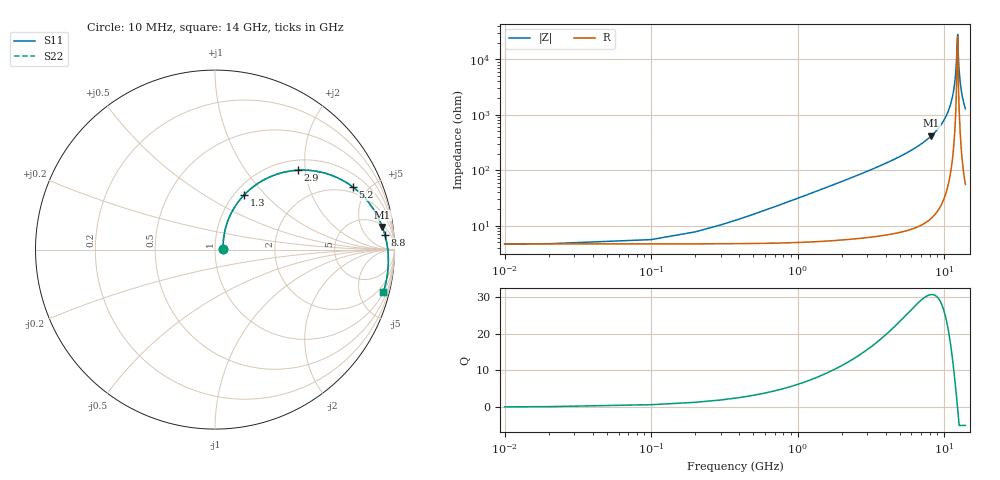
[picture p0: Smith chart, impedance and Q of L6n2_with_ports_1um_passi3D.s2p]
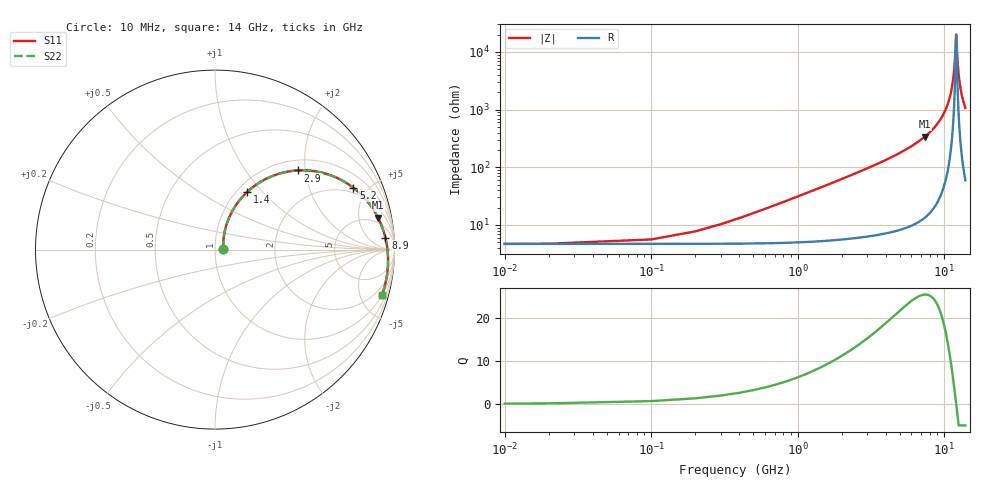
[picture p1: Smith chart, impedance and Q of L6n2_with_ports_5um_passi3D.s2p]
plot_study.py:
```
"""Regenerate the L6n2 study's differential L/Q/R plots.

Same calculation, axis limits, colors and line styles as plot_inductor
(D:/github/plot_inductor/plot_inductor.py), but with explicit legend labels
instead of truncated file names, and saving to PNG instead of plt.show().

usage: python plot_study.py [study_dir] [out_dir]
defaults: the study folder this script sits in (results/..), and results/plots
"""
import math
import os
import sys

import matplotlib
matplotlib.use("Agg")
from matplotlib import pyplot as plt
import skrf as rf

here = os.path.dirname(os.path.abspath(__file__))
study_dir = sys.argv[1] if len(sys.argv) > 1 else os.path.dirname(here)
out_dir = sys.argv[2] if len(sys.argv) > 2 else os.path.join(here, "plots")
res = os.path.join(study_dir, "results")

MEAS = (os.path.join(study_dir, "meas_L5_6n2_THRU_deemb.S2P"), "Measured (de-embedded)")
CONF_2UM = (os.path.join(res, "L6n2_with_ports_2um_passi3D.s2p"), "Sim: conformal passivation, 2 µm mesh")
CONF_1UM = (os.path.join(res, "L6n2_with_ports_1um_passi3D.s2p"), "Sim: conformal passivation, 1 µm mesh")
CONF_5UM = (os.path.join(res, "L6n2_with_ports_5um_passi3D.s2p"), "Sim: conformal passivation, 5 µm mesh")
PASSICUT = (os.path.join(res, "L6n2_with_ports_2um_passicut.s2p"), "Sim: passivation cut (valleys only), 2 µm mesh")

SURF_MERGE = (os.path.join(res, "L6n2_with_ports_surfacemesh_2um_viamerge.s2p"),
              "Sim: surface model, via merge, no correction")
SURF_NOMERGE = (os.path.join(res, "L6n2_with_ports_surfacemesh_2um_noviamerge.s2p"),
                "Sim: surface model, no via merge (individual vias)")
SURF_CORR = (os.path.join(res, "L6n2_with_ports_surfacemesh_2um_mergecorrection.s2p"),
             "Sim: surface model, via merge + fill factor correction")
PLANAR_FILLED = (os.path.join(res, "L6n2_with_ports_2um_mergecorrection_filled.s2p"),
                 "Sim: volume model (filled metals), via merge + correction")

PLOTS = {
    "via_array_merging.png": [MEAS, SURF_MERGE, SURF_NOMERGE, SURF_CORR],
    "surface_vs_filled.png": [MEAS, SURF_CORR, PLANAR_FILLED],
    "passi3D_2um.png": [MEAS, CONF_2UM],
    "passicut.png": [MEAS, CONF_2UM, PASSICUT],
    "passi3D_5um.png": [MEAS, CONF_5UM, CONF_2UM],
    "passi3D_1um.png": [MEAS, CONF_2UM, CONF_1UM],
}

colors = ['b', 'r', 'm', 'c', 'g', 'y', 'k', 'w']
linestyles = ['solid', 'dashed', 'dashdot', 'dotted', 'solid', 'dashed', 'dashdot', 'dotted']


def get_diff_model(sub):
    z11 = sub.z[:, 0, 0]
    z21 = sub.z[:, 1, 0]
    z12 = sub.z[:, 0, 1]
    z22 = sub.z[:, 1, 1]
    Zdiff = z11 - z12 - z21 + z22
    freq = sub.frequency.f
    omega = freq * 2 * math.pi
    return freq, Zdiff.real, Zdiff.imag / omega, Zdiff.imag / Zdiff.real


def plot(entries, out_path):
    networks = []
    global_fmax = math.inf
    for path, label in entries:
        nw = rf.Network(path)
        networks.append((nw, label))
        global_fmax = min(global_fmax, max(nw.frequency.f))
    fspec = str(int(100e6 / 1e6)) + '-' + str(int(global_fmax / 1e6)) + 'mhz'

    Lmin, Rmin, Qmax = math.inf, math.inf, 0
    for nw, _ in networks:
        freq0, Rdiff0, Ldiff0, Qdiff0 = get_diff_model(nw[fspec])
        Lmin = min(Lmin, Ldiff0[1] * 1e9)
        Rmin = min(Rmin, Rdiff0[1])
        Qmax = max(Qmax, max(Qdiff0))
    # like plot_inductor: SRF-based x range from the LAST file's data
    srf_index = rf.util.find_nearest_index(Ldiff0, min(Ldiff0))
    plot_fmax_ghz = 1.2 * freq0[srf_index] / 1e9 if srf_index > 20 else global_fmax / 1e9
    Rs_index = rf.util.find_nearest_index(Rdiff0, rf.util.find_nearest(Rdiff0, 3 * Rmin))

    fig, axes = plt.subplots(2, 2, figsize=(12, 9))
    fig.suptitle("Differential Inductor Parameters")
    panels = [
        (axes[0, 0], lambda f, R, L, Q: L * 1e9, "Diff. Inductance (nH)", (0, 3 * Lmin), plot_fmax_ghz),
        (axes[0, 1], lambda f, R, L, Q: Q, "Diff. Q factor", (0, 1.2 * Qmax), plot_fmax_ghz),
        (axes[1, 0], lambda f, R, L, Q: R, "Diff. Resistance (Ohm)", (0, 5 * Rmin), plot_fmax_ghz),
        (axes[1, 1], lambda f, R, L, Q: R, "Diff. Resistance (Ohm)", (0.5 * Rmin, 3 * Rmin), freq0[Rs_index] / 1e9),
    ]
    for ax, value, ylabel, ylim, xmax in panels:
        ax.set_ylim(*ylim)
        ax.set_xlim(0, xmax)
        for n, (nw, label) in enumerate(networks):
            freq, R, L, Q = get_diff_model(nw[fspec])
            ax.plot(freq / 1e9, value(freq, R, L, Q), color=colors[n % 8], linestyle=linestyles[n % 8], label=label)
        ax.set_xlabel("Frequency (GHz)")
        ax.set_ylabel(ylabel)
        ax.set_xmargin(0)
        ax.legend(fontsize=9)
        ax.grid()
    fig.tight_layout()
    fig.savefig(out_path, dpi=125)
    plt.close(fig)
    print("wrote", out_path)


os.makedirs(out_dir, exist_ok=True)
for name, entries in PLOTS.items():
    plot(entries, os.path.join(out_dir, name))
```
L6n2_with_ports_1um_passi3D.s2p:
#  GHZ S DB R 50.0
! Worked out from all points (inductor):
!   142 points, 10 MHz to 14 GHz, reference 50 ohm
!   read as one part in series: L = 4.86 nH near 500 MHz
!   highest Q = 30.7 at 8.2 GHz (marker M1), where L = 8.1 nH
!   self-resonance near 12.3 GHz
!   S11 on the Smith chart (normalised r, x): 10 MHz: 1.09, +0.01; 1.3 GHz: 1.11, +0.77; 2.9 GHz: 1.22, +1.82; 5.2 GHz: 1.65, +3.99; 8.8 GHz: 10, +17; 14 GHz: 1.06, -7.84
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0.01  -26.97 3.3  -0.40 -0.2  -0.40 -0.2  -26.97 3.4
1.3  -9.25 61.9  -1.08 -21.8  -1.08 -21.8  -9.25 61.9
2.9  -3.89 43.8  -3.02 -43.0  -3.02 -43.0  -3.89 43.8
5.2  -1.47 24.3  -6.73 -63.6  -6.73 -63.6  -1.47 24.3
7.1  -0.74 13.0  -10.36 -75.2  -10.36 -75.2  -0.74 13.0
8.2  -0.53 7.7  -12.86 -80.5  -12.86 -80.5  -0.53 7.7
8.8  -0.44 5.0  -14.43 -83.2  -14.43 -83.2  -0.44 5.0
11.5  -0.27 -5.6  -27.49 -90.9  -27.49 -90.9  -0.27 -5.6
12.4  -0.26 -8.8  -49.27 16.0  -49.27 16.0  -0.26 -8.8
12.9  -0.26 -10.6  -32.06 72.5  -32.06 72.5  -0.26 -10.6
14  -0.29 -14.3  -22.57 73.5  -22.57 73.5  -0.29 -14.3
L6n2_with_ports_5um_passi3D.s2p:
#  GHZ S DB R 50.0
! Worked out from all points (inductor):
!   142 points, 10 MHz to 14 GHz, reference 50 ohm
!   read as one part in series: L = 4.86 nH near 500 MHz
!   highest Q = 25.4 at 7.4 GHz (marker M1), where L = 7.29 nH
!   self-resonance near 12.1 GHz
!   S11 on the Smith chart (normalised r, x): 10 MHz: 1.09, +0.01; 1.4 GHz: 1.11, +0.83; 2.9 GHz: 1.22, +1.82; 5.2 GHz: 1.68, +4.02; 8.9 GHz: 14, +19; 14 GHz: 1.02, -7.32
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0.01  -26.98 3.3  -0.40 -0.2  -0.40 -0.2  -26.98 3.3
1.4  -8.70 60.8  -1.17 -23.3  -1.17 -23.3  -8.71 60.8
2.9  -3.90 43.7  -3.03 -43.0  -3.03 -43.0  -3.90 43.7
5.2  -1.47 24.1  -6.79 -63.6  -6.79 -63.6  -1.47 24.1
7.1  -0.74 12.6  -10.51 -75.2  -10.51 -75.2  -0.74 12.6
7.4  -0.67 11.1  -11.18 -76.8  -11.18 -76.8  -0.67 11.1
8.9  -0.43 4.0  -15.09 -83.6  -15.09 -83.6  -0.43 4.0
11.2  -0.28 -5.3  -26.65 -88.9  -26.65 -88.9  -0.29 -5.3
12.1  -0.27 -8.6  -46.38 -17.4  -46.38 -17.4  -0.28 -8.6
12.7  -0.28 -10.8  -30.82 70.0  -30.82 70.0  -0.28 -10.8
14  -0.32 -15.3  -21.01 71.8  -21.01 71.8  -0.32 -15.3
